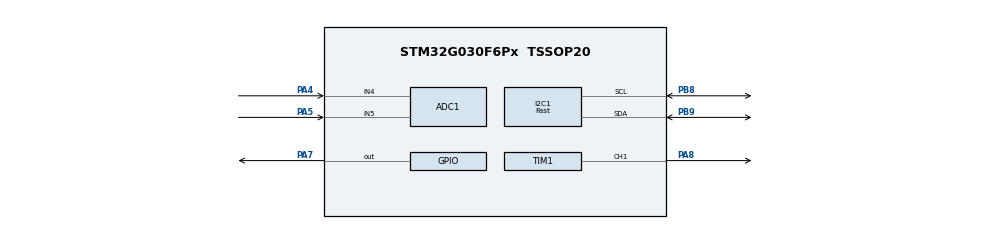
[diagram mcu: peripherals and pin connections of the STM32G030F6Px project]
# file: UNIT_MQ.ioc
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ADC1.ClockPrescaler=ADC_CLOCK_SYNC_PCLK_DIV2
ADC1.ContinuousConvMode=ENABLE
ADC1.DMAContinuousRequests=ENABLE
ADC1.EOCSelection=ADC_EOC_SINGLE_CONV
ADC1.NbrOfConversion=1
ADC1.NbrOfConversionFlag=0
ADC1.SamplingTimeCommon1=ADC_SAMPLETIME_160CYCLES_5
ADC1.SelectedChannel=ADC_CHANNEL_4|ADC_CHANNEL_5|ADC_CHANNEL_VREFINT
ADC1.Sequencer=NOT_FULLY_CONFIGURABLE
ADC1.master=1
Dma.ADC1.0.Direction=DMA_PERIPH_TO_MEMORY
Dma.ADC1.0.EventEnable=DISABLE
Dma.ADC1.0.Instance=DMA1_Channel1
Dma.ADC1.0.MemDataAlignment=DMA_MDATAALIGN_WORD
Dma.ADC1.0.MemInc=DMA_MINC_ENABLE
Dma.ADC1.0.Mode=DMA_CIRCULAR
Dma.ADC1.0.PeriphDataAlignment=DMA_PDATAALIGN_WORD
Dma.ADC1.0.PeriphInc=DMA_PINC_DISABLE
Dma.ADC1.0.Polarity=HAL_DMAMUX_REQ_GEN_RISING
Dma.ADC1.0.Priority=DMA_PRIORITY_HIGH
Dma.ADC1.0.RequestNumber=1
Dma.ADC1.0.SignalID=NONE
Dma.ADC1.0.SyncEnable=DISABLE
Dma.ADC1.0.SyncPolarity=HAL_DMAMUX_SYNC_NO_EVENT
Dma.ADC1.0.SyncRequestNumber=1
Dma.ADC1.0.SyncSignalID=NONE
Dma.Request0=ADC1
I2C1.DualAddressMode=I2C_DUALADDRESS_DISABLE
I2C1.I2C_Speed_Mode=I2C_Fast
I2C1.OwnAddress=0x11
I2C1.Timing=0x00602173
IWDG.Prescaler=IWDG_PRESCALER_16
Mcu.Family=STM32G0
Mcu.Name=STM32G030F6Px
Mcu.Package=TSSOP20
NVIC.DMA1_Channel1_IRQn=true\:1\:0\:true\:false\:true\:false\:true\:true
NVIC.FLASH_IRQn=true\:0\:0\:true\:false\:true\:true\:true\:true
NVIC.I2C1_IRQn=true\:0\:0\:false\:false\:true\:true\:true\:true
PA13.Mode=Serial_Wire
PA13.Signal=SYS_SWDIO
PA14-BOOT0.Mode=Serial_Wire
PA14-BOOT0.Signal=SYS_SWCLK
PA14-BOOT0__PA15.StandardMode=true
PA4.Mode=IN4
PA4.Signal=ADC1_IN4
PA5.Mode=IN5
PA5.Signal=ADC1_IN5
PA7.GPIO_PuPd=GPIO_PULLDOWN
PA7.Signal=GPIO_Output
PA8.Signal=S_TIM1_CH1
PB0__PB1__PB2__PA8.StandardMode=true
PB3__PB4__PB5__PB6.StandardMode=true
PB7__PB8.StandardMode=true
PB8.GPIO_Pu=GPIO_PULLUP
PB8.GPIO_Speed=GPIO_SPEED_FREQ_HIGH
PB8.Mode=I2C
PB8.Signal=I2C1_SCL
PB9.GPIO_Pu=GPIO_PULLUP
PB9.GPIO_Speed=GPIO_SPEED_FREQ_HIGH
PB9.Mode=I2C
PB9.Signal=I2C1_SDA
PC14-OSC32_IN\ (PC14)__PB9.StandardMode=true
ProjectManager.HeapSize=0x200
ProjectManager.StackSize=0x400
ProjectManager.TargetToolchain=STM32CubeIDE
RCC.ADCFreq_Value=64000000
RCC.AHBFreq_Value=64000000
RCC.CortexFreq_Value=64000000
RCC.EXTERNAL_CLOCK_VALUE=12288000
RCC.HCLKFreq_Value=64000000
RCC.HSE_VALUE=8000000
RCC.HSI_VALUE=16000000
RCC.LSE_VALUE=32768
RCC.PLLP=RCC_PLLP_DIV4
RCC.SYSCLKFreq_VALUE=64000000
RCC.SYSCLKSource=RCC_SYSCLKSOURCE_PLLCLK
RCC.VCOOutputFreq_Value=128000000
SH.S_TIM1_CH1.0=TIM1_CH1,PWM Generation1 CH1
TIM1.Channel-PWM\ Generation1\ CH1=TIM_CHANNEL_1
TIM1.Period=1000
TIM1.Prescaler=64-1
VP_ADC1_Vref_Input.Mode=IN-Vrefint
VP_IWDG_VS_IWDG.Mode=IWDG_Activate
VP_TIM1_VS_ClockSourceINT.Mode=Internal
board=custom

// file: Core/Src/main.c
/* USER CODE BEGIN Header */
/**
 ******************************************************************************
 * @file           : main.c
 * @brief          : Main program body
 ******************************************************************************
 * @attention
 *
 * Copyright (c) 2024 STMicroelectronics.
 * All rights reserved.
 *
 * This software is licensed under terms that can be found in the LICENSE file
 * in the root directory of this software component.
 * If no LICENSE file comes with this software, it is provided AS-IS.
 *
 ******************************************************************************
 */
/* USER CODE END Header */
#include "main.h"
#include "adc.h"
#include "dma.h"
#include "i2c.h"
#include "iwdg.h"
#include "tim.h"
#include "gpio.h"

/* USER CODE BEGIN Includes */
#include "i2c_ex.h"
#include "myflash.h"
#include "string.h"
#include "math.h"
/* USER CODE END Includes */

/* USER CODE BEGIN PTD */
#define FIRMWARE_VERSION    (1)
#define I2C1_ADDR_BASE      (0x11)
#define ADC_CHANNEL_NUMS    (3)
#define ADC_AVERAGE_NUMS    (20)
#define ADC_SAMPLES_NUMS    (ADC_CHANNEL_NUMS * ADC_AVERAGE_NUMS)
#define HEAT_DURATION       (20 * 1000)
#define APPLICATION_ADDRESS ((uint32_t)0x08001800)
#define VREFINT_CALIB       (*((uint16_t *)0x1FFF75AA))
#define ADC_MAX             (4095)

#define MQ_CFG_REG_ADDR                      (0x00)
#define LED_CFG_REG_ADDR                     (0x01)
#define MQ_HIGH_PIN_CFG_REG_ADDR             (0x10)
#define MQ_LOW_PIN_CFG_REG_ADDR              (0x11)
#define MQ_8B_ADC_REG_ADDR                   (0x20)
#define MQ_12B_ADC_REG_ADDR                  (0x30)
#define MQ_ADC_VALID_TAGS_REG_ADDR           (0x40)
#define NTC_TEMP_8B_ADC_REG_ADDR             (0x50)
#define NTC_TEMP_12B_ADC_REG_ADDR            (0x60)
#define NTC_TEMP_VAL_REG_ADDR                (0x70)
#define INTERNALT_REFERENCE_VOLTAGE_REG_ADDR (0x80)
#define MQ_CHANNEL_VOLTAGE_REG_ADDR          (0x82)
#define NTC_CHANNEL_VOLTAGE_REG_ADDR         (0x84)
#define IAP_UPDATE_ADDR                      (0xFD)
#define SW_VER_REG_ADDR                      (0xFE)
#define I2C_ADDR_REG_ADDR                    (0xFF)

typedef enum {
    MODE_OFF = 0x00,  // Off mode
    MODE_HEAT,        // Constant temperature heating mode
    MODE_PIN_SWITCH   // Pin level switching mode
} mq_mode_t;

typedef enum {
    LED_DISABLE = 0x00,  // Disabled
    LED_ENABLE           // Enabled
} led_status_t;

typedef enum {
    HIGH_LEVEL = 0x00,  // High level
    LOW_LEVEL           // Low level
} level_status_t;

__IO static uint8_t mq_cfg_reg                  = 0;
__IO static uint8_t led_cfg_reg                 = 0;
__IO static uint8_t mq_heat_pin_cfg_reg[2]      = {30, 5};
__IO static uint8_t mq_8b_adc_reg               = 0;
__IO static uint16_t mq_12b_adc_reg             = 0;
__IO static uint8_t mq_adc_valid_tags           = 0;
__IO static uint8_t ntc_8b_adc_reg              = 0;
__IO static uint16_t ntc_12b_adc_reg            = 0;
__IO static uint8_t ntc_resistance_val_reg[2]   = {0};
__IO static uint16_t internal_reference_voltage = 0;
__IO static uint16_t mq_voltage         = 0;
__IO static uint16_t ntc_voltage        = 0;
__IO static uint8_t sw_ver_reg                  = FIRMWARE_VERSION;
__IO uint8_t i2c_addr_reg                       = 0;

/* USER CODE END PTD */

/* USER CODE BEGIN PD */

__IO uint32_t adc_value_buf[ADC_SAMPLES_NUMS];
__IO uint32_t i2c_stop_timeout_delay = 0;
__IO uint8_t mq_adc_flag             = 0;
__IO uint8_t mq_work_mode_switch     = 0;
__IO uint32_t mq_start_time          = 0;
__IO uint32_t mq_level_status        = LOW_LEVEL;
__IO uint32_t high_level_time        = 0;
__IO uint32_t low_level_time         = 0;
static uint16_t adc_12bit            = 0;
uint16_t led_pwm                     = 0;

/* USER CODE END PD */

void SystemClock_Config(void);

/* USER CODE BEGIN 0 */

/* USER CODE END PV */

/* Private function prototypes -----------------------------------------------*/
void SystemClock_Config(void);
/* USER CODE BEGIN PFP */

/* USER CODE END PFP */

/* Private user code ---------------------------------------------------------*/
/* USER CODE BEGIN 0 */
void unit_mq_init(void)
{
    uint8_t data = get_i2c_addr();
    if (data == 0xFF) {
        i2c_addr_reg = I2C1_ADDR_BASE;
    } else {
        i2c_addr_reg = data;
    }
    high_level_time = mq_heat_pin_cfg_reg[0] * 1000;
    low_level_time  = mq_heat_pin_cfg_reg[1] * 1000;
}

long map(long x, long in_min, long in_max, long out_min, long out_max)
{
    long result;

    result = (x - in_min) * (out_max - out_min) / (in_max - in_min) + out_min;
    if (result < out_min)
        result = out_min;
    else if (result > out_max)
        result = out_max;

    return result;
}

void Slave_Complete_Callback(uint8_t *rx_data, uint16_t len)
{
    uint8_t rx_buf[16];
    uint8_t tx_buf[32];
    uint8_t rx_mark[16] = {0};
    if (len > 1) {
        if (rx_data[0] <= 0x01 && len <= 3) {
            for (int i = 0; i < len - 1; i++) {
                rx_buf[rx_data[0] + i]  = rx_data[1 + i];
                rx_mark[rx_data[0] + i] = 1;
            }
            if (rx_mark[0]) {
                if (mq_cfg_reg != rx_buf[0] && rx_buf[0] < 0x03) {
                    mq_work_mode_switch = 1;
                    mq_cfg_reg          = rx_buf[0];
                }
            }
            if (rx_mark[1]) {
                if (rx_buf[1] < 0x02) {
                    led_cfg_reg = rx_buf[1];
                }
            }
        } else if (rx_data[0] >= 0x10 && rx_data[0] <= 0x11 && len <= 3) {
            for (int i = 0; i < len - 1; i++) {
                rx_buf[rx_data[0] + i - 0x10]  = rx_data[1 + i];
                rx_mark[rx_data[0] + i - 0x10] = 1;
            }
            if (rx_mark[0]) {
                if (rx_buf[0] >= 30) {
                    mq_heat_pin_cfg_reg[0] = rx_buf[0];
                    high_level_time        = mq_heat_pin_cfg_reg[0] * 1000;
                }
            }
            if (rx_mark[1]) {
                if (rx_buf[1] >= 5) {
                    mq_heat_pin_cfg_reg[1] = rx_buf[1];
                    low_level_time         = mq_heat_pin_cfg_reg[1] * 1000;
                }
            }
        } else if (rx_data[0] == I2C_ADDR_REG_ADDR && len == 2) {
            if (rx_data[1] >= 0x08 && rx_data[1] <= 0x77) {
                if (i2c_addr_reg != rx_data[1]) {
                    i2c_addr_reg = rx_data[1];
                    set_i2c_addr(i2c_addr_reg);
                    user_i2c_init();
                }
            }
        } else if (rx_data[0] == IAP_UPDATE_ADDR && len == 2) {
            if (rx_data[1] > 0) {
                NVIC_SystemReset();  // Reset the MCU, used for IAP firmware upgrade
            }
        }
    }

    if (len == 1) {
        if (rx_data[0] <= LED_CFG_REG_ADDR) {
            uint8_t data_len = 2 + 0x00 - rx_data[0];
            tx_buf[0]        = mq_cfg_reg;
            tx_buf[1]        = led_cfg_reg;
            i2c1_set_send_data((tx_buf + 2 - data_len), data_len);
        } else if (rx_data[0] <= MQ_LOW_PIN_CFG_REG_ADDR) {
            uint8_t data_len = 2 + 0x10 - rx_data[0];
            memcpy(tx_buf, (uint8_t *)mq_heat_pin_cfg_reg, 2);
            i2c1_set_send_data((tx_buf + 2 - data_len), data_len);
        } else if (rx_data[0] == MQ_8B_ADC_REG_ADDR) {
            tx_buf[0] = mq_8b_adc_reg;
            i2c1_set_send_data(tx_buf, 1);
        } else if (rx_data[0] <= (MQ_12B_ADC_REG_ADDR + 1)) {
            uint8_t data_len = 2 + 0x30 - rx_data[0];
            tx_buf[0]        = mq_12b_adc_reg & 0xFF;
            tx_buf[1]        = (mq_12b_adc_reg >> 8) & 0xFF;
            i2c1_set_send_data((tx_buf + 2 - data_len), data_len);
        } else if (rx_data[0] == MQ_ADC_VALID_TAGS_REG_ADDR) {
            tx_buf[0] = mq_adc_valid_tags;
            i2c1_set_send_data(tx_buf, 1);
        } else if (rx_data[0] == NTC_TEMP_8B_ADC_REG_ADDR) {
            tx_buf[0] = ntc_8b_adc_reg;
            i2c1_set_send_data(tx_buf, 1);
        } else if (rx_data[0] <= NTC_TEMP_12B_ADC_REG_ADDR) {
            uint8_t data_len = 2 + 0x60 - rx_data[0];
            tx_buf[0]        = ntc_12b_adc_reg & 0xFF;
            tx_buf[1]        = (ntc_12b_adc_reg >> 8) & 0xFF;
            i2c1_set_send_data((tx_buf + 2 - data_len), data_len);
        } else if (rx_data[0] <= NTC_TEMP_VAL_REG_ADDR) {
            uint8_t data_len = 2 + 0x70 - rx_data[0];
            tx_buf[0]        = ntc_resistance_val_reg[0];
            tx_buf[1]        = ntc_resistance_val_reg[1];
            i2c1_set_send_data((tx_buf + 2 - data_len), data_len);
        } else if (rx_data[0] <= (NTC_CHANNEL_VOLTAGE_REG_ADDR + 1)) {
            uint8_t data_len = 6 + 0x80 - rx_data[0];
            tx_buf[0]        = internal_reference_voltage & 0xFF;
            tx_buf[1]        = (internal_reference_voltage >> 8) & 0xFF;
            tx_buf[2]        = mq_voltage & 0xFF;
            tx_buf[3]        = (mq_voltage >> 8) & 0xFF;
            tx_buf[4]        = ntc_voltage & 0xFF;
            tx_buf[5]        = (ntc_voltage >> 8) & 0xFF;
            i2c1_set_send_data((tx_buf + 6 - data_len), data_len);
        } else if (rx_data[0] == SW_VER_REG_ADDR) {
            i2c1_set_send_data((uint8_t *)&sw_ver_reg, sizeof(sw_ver_reg));
        } else if (rx_data[0] == I2C_ADDR_REG_ADDR) {
            i2c1_set_send_data((uint8_t *)&i2c_addr_reg, sizeof(i2c_addr_reg));
        }
    }
}

void iap_set()
{
    uint8_t i;
    uint32_t *pVecTab = (uint32_t *)(0x20000000);
    for (i = 0; i < 48; i++) {
        *(pVecTab++) = *(__IO uint32_t *)(APPLICATION_ADDRESS + (i << 2));
    }
    __HAL_RCC_SYSCFG_CLK_ENABLE();
    __HAL_SYSCFG_REMAPMEMORY_SRAM();
}

/* USER CODE END 0 */

int main(void)
{
    /* USER CODE BEGIN 1 */
    iap_set();
    unit_mq_init();
    /* USER CODE END 1 */

    /* MCU Configuration--------------------------------------------------------*/

    /* Reset of all peripherals, Initializes the Flash interface and the Systick. */
    HAL_Init();

    /* Configure the system clock */
    SystemClock_Config();

    /* Initialize all configured peripherals */
    MX_GPIO_Init();
    MX_DMA_Init();
    MX_I2C1_Init();
    MX_ADC1_Init();
    MX_TIM1_Init();
    MX_IWDG_Init();
    /* USER CODE BEGIN 2 */
    user_i2c_init();
    i2c1_it_enable();
    LL_TIM_EnableAllOutputs(TIM1);
    LL_TIM_EnableCounter(TIM1);
    LL_TIM_CC_EnableChannel(TIM1, LL_TIM_CHANNEL_CH1);
    HAL_ADCEx_Calibration_Start(&hadc1);
    HAL_ADC_Start_DMA(&hadc1, (uint32_t *)adc_value_buf, ADC_SAMPLES_NUMS);
    LL_GPIO_ResetOutputPin(GPIOA, LL_GPIO_PIN_7);
    LL_TIM_OC_SetCompareCH1(TIM1, 0);

    /* USER CODE END 2 */

    /* Infinite loop */
    /* USER CODE BEGIN WHILE */
    while (1) {
        mq_adc_valid_tags   = mq_adc_flag;
        i2c_timeout_counter = 0;
        if (i2c_stop_timeout_flag) {
            if (i2c_stop_timeout_delay < HAL_GetTick()) {
                i2c_stop_timeout_counter++;
                i2c_stop_timeout_delay = HAL_GetTick() + 10;
            }
        }
        if (i2c_stop_timeout_counter > 50) {
            LL_I2C_DeInit(I2C1);
            LL_I2C_DisableAutoEndMode(I2C1);
            LL_I2C_Disable(I2C1);
            LL_I2C_DisableIT_ADDR(I2C1);
            user_i2c_init();
            i2c1_it_enable();
            HAL_Delay(10);
        }
        // led status switch
        if (led_cfg_reg == LED_DISABLE) {
            LL_TIM_OC_SetCompareCH1(TIM1, 0);
        } else {
            if (mq_adc_flag) {
                led_pwm = map(mq_12b_adc_reg, 0, 2200, 0, 1000);
                LL_TIM_OC_SetCompareCH1(TIM1, led_pwm);
            } else {
                LL_TIM_OC_SetCompareCH1(TIM1, 0);
            }
        }
        // mq work status switch
        switch (mq_cfg_reg) {
            case MODE_OFF:
                LL_GPIO_ResetOutputPin(GPIOA, LL_GPIO_PIN_7);
                if (mq_work_mode_switch == 1) {
                    mq_work_mode_switch = 0;
                    mq_adc_flag         = 0;
                }
                break;
            case MODE_HEAT:
                LL_GPIO_SetOutputPin(GPIOA, LL_GPIO_PIN_7);
                if (mq_work_mode_switch == 1) {
                    mq_work_mode_switch = 0;
                    mq_start_time       = HAL_GetTick();
                    mq_adc_flag         = 0;
                } else {
                    if (mq_adc_flag == 0) {
                        if (HAL_GetTick() - mq_start_time > HEAT_DURATION) {
                            mq_adc_flag = 1;
                        }
                    }
                }
                break;
            case MODE_PIN_SWITCH:
                if (mq_work_mode_switch == 1) {
                    mq_work_mode_switch = 0;
                    mq_start_time       = HAL_GetTick();
                    mq_level_status     = HIGH_LEVEL;
                    mq_adc_flag         = 0;
                }
                switch (mq_level_status) {
                    case HIGH_LEVEL:
                        LL_GPIO_SetOutputPin(GPIOA, LL_GPIO_PIN_7);
                        if (mq_adc_flag == 0) {
                            if (HAL_GetTick() - mq_start_time > HEAT_DURATION) {
                                mq_adc_flag = 1;
                            }
                        }
                        if (HAL_GetTick() - mq_start_time > high_level_time) {
                            mq_level_status = LOW_LEVEL;
                            mq_start_time   = HAL_GetTick();
                            mq_adc_flag     = 0;
                        }
                        break;
                    case LOW_LEVEL:
                        LL_GPIO_ResetOutputPin(GPIOA, LL_GPIO_PIN_7);
                        if (HAL_GetTick() - mq_start_time > low_level_time) {
                            mq_level_status = HIGH_LEVEL;
                            mq_start_time   = HAL_GetTick();
                        }
                        break;
                }
                break;
            default:
                break;
        }

        /* USER CODE END WHILE */

        /* USER CODE BEGIN 3 */
        LL_IWDG_ReloadCounter(IWDG);
    }
    /* USER CODE END 3 */
}

void SystemClock_Config(void)
{
    LL_FLASH_SetLatency(LL_FLASH_LATENCY_2);
    while (LL_FLASH_GetLatency() != LL_FLASH_LATENCY_2) {
    }

    /* HSI configuration and activation */
    LL_RCC_HSI_Enable();
    while (LL_RCC_HSI_IsReady() != 1) {
    }

    /* LSI configuration and activation */
    LL_RCC_LSI_Enable();
    while (LL_RCC_LSI_IsReady() != 1) {
    }

    /* Main PLL configuration and activation */
    LL_RCC_PLL_ConfigDomain_SYS(LL_RCC_PLLSOURCE_HSI, LL_RCC_PLLM_DIV_1, 8, LL_RCC_PLLR_DIV_2);
    LL_RCC_PLL_Enable();
    LL_RCC_PLL_EnableDomain_SYS();
    while (LL_RCC_PLL_IsReady() != 1) {
    }

    /* Set AHB prescaler*/
    LL_RCC_SetAHBPrescaler(LL_RCC_SYSCLK_DIV_1);

    /* Sysclk activation on the main PLL */
    LL_RCC_SetSysClkSource(LL_RCC_SYS_CLKSOURCE_PLL);
    while (LL_RCC_GetSysClkSource() != LL_RCC_SYS_CLKSOURCE_STATUS_PLL) {
    }

    /* Set APB1 prescaler*/
    LL_RCC_SetAPB1Prescaler(LL_RCC_APB1_DIV_1);
    /* Update CMSIS variable (which can be updated also through SystemCoreClockUpdate function) */
    LL_SetSystemCoreClock(64000000);

    /* Update the time base */
    if (HAL_InitTick(TICK_INT_PRIORITY) != HAL_OK) {
        Error_Handler();
    }
}

/* USER CODE BEGIN 4 */
void HAL_ADC_ConvCpltCallback(ADC_HandleTypeDef *hadc)
{
    uint64_t adc_total[ADC_CHANNEL_NUMS] = {0};
    uint32_t v_refint_actual             = 0;
    float ntc_resistance                 = 0;
    int temp                             = 0;
    HAL_ADC_Stop_DMA(hadc);
    for (uint8_t i = 0; i < ADC_SAMPLES_NUMS; i++) {
        adc_total[i % ADC_CHANNEL_NUMS] += adc_value_buf[i];
    }

    // Calculate actual VREFINT (in mV), using calibration value
    v_refint_actual = (uint32_t)((3000.0f * VREFINT_CALIB) / ((float)adc_total[2] / ADC_AVERAGE_NUMS));

    // Update MQ channel ADC values
    adc_12bit      = adc_total[0] / ADC_AVERAGE_NUMS;
    mq_8b_adc_reg  = map(adc_12bit, 0, 4095, 0, 255);
    mq_12b_adc_reg = adc_12bit;

    // Update NTC channel ADC values
    adc_12bit       = adc_total[1] / ADC_AVERAGE_NUMS;
    ntc_8b_adc_reg  = map(adc_12bit, 0, 4095, 0, 255);
    ntc_12b_adc_reg = adc_12bit;

    // Update voltage values (in mV)
    internal_reference_voltage = v_refint_actual;
    mq_voltage         = (uint32_t)((v_refint_actual * (float)mq_12b_adc_reg) / 4095.0f) * 2;
    ntc_voltage        = (uint32_t)((v_refint_actual * (float)ntc_12b_adc_reg) / 4095.0f);

    // Calculate NTC resistance using voltage divider formula
    ntc_resistance = (2000.0f * internal_reference_voltage) / ntc_voltage - 2000.0f;

    // Convert resistance to integer and store as 2-byte register value
    temp                      = (int)ntc_resistance;
    ntc_resistance_val_reg[1] = (uint8_t)(temp >> 8);    // High byte
    ntc_resistance_val_reg[0] = (uint8_t)(temp & 0xFF);  // Low byte

    HAL_ADC_Start_DMA(&hadc1, (uint32_t *)adc_value_buf, ADC_SAMPLES_NUMS);
}

/* USER CODE END 4 */

void Error_Handler(void)
{
    __disable_irq();
    while (1) {
    }
}
